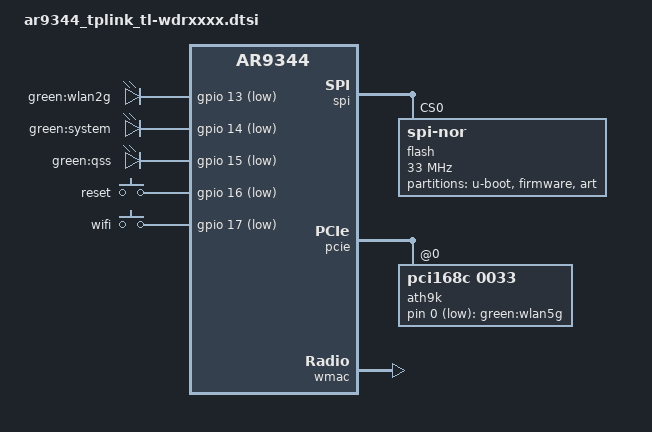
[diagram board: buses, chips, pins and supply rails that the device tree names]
// SPDX-License-Identifier: GPL-2.0-or-later OR MIT

#include "ar9344.dtsi"

#include <dt-bindings/gpio/gpio.h>
#include <dt-bindings/input/input.h>

/ {
	aliases {
		led-boot = &led_system;
		led-failsafe = &led_system;
		led-running = &led_system;
		led-upgrade = &led_system;
	};

	leds: leds {
		compatible = "gpio-leds";

		wlan2g {
			label = "green:wlan2g";
			gpios = <&gpio 13 GPIO_ACTIVE_LOW>;
			linux,default-trigger = "phy0tpt";
		};

		led_system: system {
			label = "green:system";
			gpios = <&gpio 14 GPIO_ACTIVE_LOW>;
			default-state = "on";
		};

		qss {
			label = "green:qss";
			gpios = <&gpio 15 GPIO_ACTIVE_LOW>;
		};
	};

	ath9k-leds {
		compatible = "gpio-leds";

		wlan5g {
			label = "green:wlan5g";
			gpios = <&ath9k 0 GPIO_ACTIVE_LOW>;
			linux,default-trigger = "phy1tpt";
		};
	};

	keys {
		compatible = "gpio-keys";

		reset {
			linux,code = <KEY_RESTART>;
			gpios = <&gpio 16 GPIO_ACTIVE_LOW>;
			debounce-interval = <60>;
		};

		wifi {
			linux,code = <KEY_RFKILL>;
			linux,input-type = <EV_SW>;
			gpios = <&gpio 17 GPIO_ACTIVE_LOW>;
			debounce-interval = <60>;
		};
	};
};

&ref {
	clock-frequency = <40000000>;
};

&spi {
	status = "okay";

	flash@0 {
		compatible = "jedec,spi-nor";
		reg = <0>;
		spi-max-frequency = <33000000>;

		partitions {
			compatible = "fixed-partitions";
			#address-cells = <1>;
			#size-cells = <1>;

			uboot: partition@0 {
				label = "u-boot";
				reg = <0x000000 0x020000>;
				read-only;
			};

			partition@20000 {
				compatible = "tplink,firmware";
				label = "firmware";
				reg = <0x020000 0x7d0000>;
			};

			art: partition@7f0000 {
				label = "art";
				reg = <0x7f0000 0x010000>;
				read-only;
			};
		};
	};
};

&pcie {
	status = "okay";

	ath9k: wifi@0,0 {
		compatible = "pci168c,0033";
		reg = <0x0000 0 0 0 0>;
		qca,no-eeprom;
		#gpio-cells = <2>;
		gpio-controller;
	};
};

&wmac {
	status = "okay";

	mtd-cal-data = <&art 0x1000>;
};
